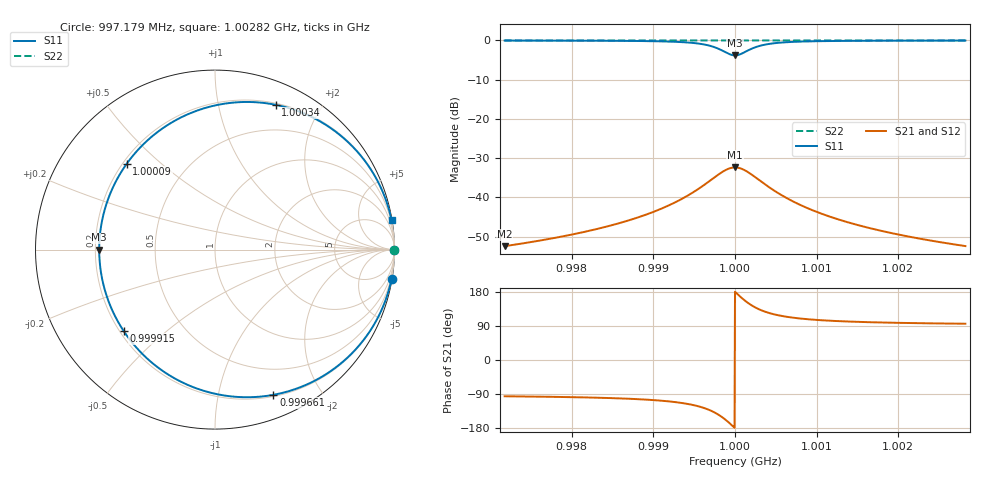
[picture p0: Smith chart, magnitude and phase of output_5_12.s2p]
! File generated for n1 = 5, n2 = 12
! b1 = 4.641589
! b2 = 0.001000
! Q0 = 10000.000000
! f0 = 1000000000.000000
! n = 1001
! rel_span = 10.000000
# Hz S RI R 50
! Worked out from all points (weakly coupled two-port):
!   1001 points, 997.179 MHz to 1.00282 GHz, reference 50 ohm
!   highest |S21| = -32.34 dB at 1 GHz (marker M1); lowest = -52.4 dB at 997.179 MHz (marker M2)
!   lowest |S11| = -3.8 dB at 1 GHz (marker M3), VSWR 4.64, Z = 10.8 + j0 ohm
!   |S11| at or under -10 dB: nowhere
!   |S22| runs from 0.0 to 0.0 dB; largest |S21 - S12| = 0
!   S11 on the Smith chart (normalised r, x): 997.179 MHz: 0, -12; 999.661 MHz: 0.22, -1.46; 999.915 MHz: 0.22, -0.36; 1.00009 GHz: 0.22, +0.39; 1.00034 GHz: 0.22, +1.48; 1.00282 GHz: 0, +12
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9.971787e8  0.9838 -0.1627  -0.000238 -0.00239  -0.000238 -0.00239  1 -3.5e-05
9.98121e8  0.9638 -0.2414  -0.000531 -0.00354  -0.000531 -0.00354  1 -5.2e-05
9.986571e8  0.9305 -0.3308  -0.00102 -0.00486  -0.00102 -0.00486  1 -7.13e-05
9.990633e8  0.8633 -0.4541  -0.00201 -0.00667  -0.00201 -0.00667  1 -9.78e-05
9.994245e8  0.6814 -0.6501  -0.00468 -0.00954  -0.00468 -0.00954  0.9999 -0.00014
9.995542e8  0.5296 -0.7434  -0.0069 -0.0109  -0.0069 -0.0109  0.9999 -0.00016
9.996614e8  0.3259 -0.8091  -0.00989 -0.0119  -0.00989 -0.0119  0.9999 -0.000174
9.998025e8  -0.1041 -0.7729  -0.0162 -0.0113  -0.0162 -0.0113  0.9998 -0.000167
9.998589e8  -0.3161 -0.6581  -0.0193 -0.00966  -0.0193 -0.00966  0.9997 -0.000142
9.999154e8  -0.5093 -0.4528  -0.0222 -0.00665  -0.0222 -0.00665  0.9997 -9.76e-05
1e9  -0.6452 0  -0.0241 0  -0.0241 0  0.9996 0
1.000045e9  -0.6041 0.2567  -0.0235 0.00377  -0.0235 0.00377  0.9997 5.53e-05
1.00009e9  -0.4924 0.4775  -0.0219 0.00701  -0.0219 0.00701  0.9997 0.000103
1.000141e9  -0.3162 0.6581  -0.0193 0.00966  -0.0193 0.00966  0.9997 0.000142
1.000197e9  -0.1042 0.7729  -0.0162 0.0113  -0.0162 0.0113  0.9998 0.000167
1.00026e9  0.1089 0.8197  -0.0131 0.012  -0.0131 0.012  0.9998 0.000177
1.000344e9  0.3387 0.8066  -0.00971 0.0118  -0.00971 0.0118  0.9999 0.000174
1.000451e9  0.5377 0.7395  -0.00679 0.0109  -0.00679 0.0109  0.9999 0.000159
1.000581e9  0.6861 0.6464  -0.00461 0.00949  -0.00461 0.00949  0.9999 0.000139
1.000942e9  0.8645 0.4522  -0.00199 0.00664  -0.00199 0.00664  1 9.74e-05
1.001885e9  0.9639 0.2411  -0.00053 0.00354  -0.00053 0.00354  1 5.19e-05
1.002821e9  0.9837 0.1631  -0.00024 0.00239  -0.00024 0.00239  1 3.51e-05
